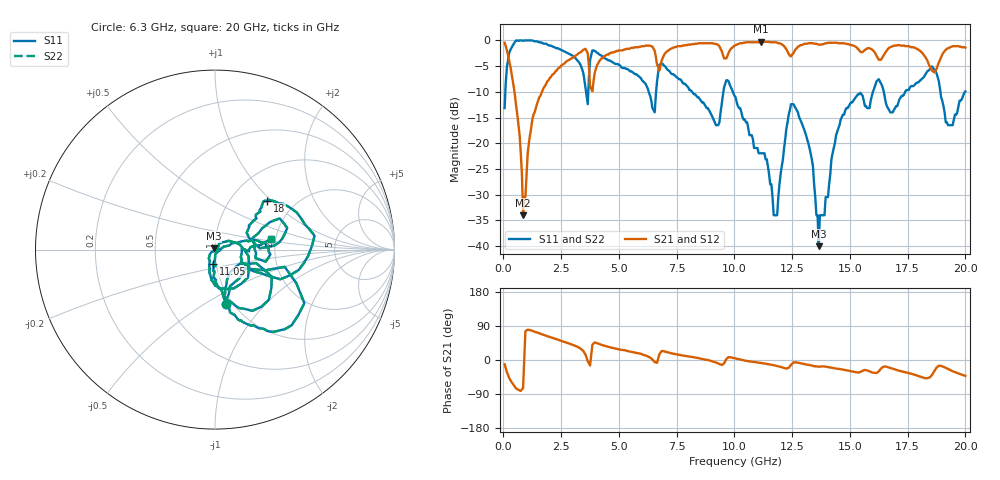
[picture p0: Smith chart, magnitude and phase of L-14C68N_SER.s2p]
# MHZ S MA R 50
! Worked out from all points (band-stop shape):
!   400 points, 50 MHz to 20 GHz, reference 50 ohm
!   highest |S21| = -0.26 dB at 11.15 GHz (marker M1); lowest = -34.0 dB at 850 MHz (marker M2)
!   |S21| within 3 dB of the highest: 6.909 GHz to 9.536 GHz (2.627 GHz wide, 32 % of centre); 9.671 GHz to 16.19 GHz (6.517 GHz wide, 50.4 % of centre) (the widest 2 of 7)
!   lowest |S11| = -40.0 dB at 13.65 GHz (marker M3), VSWR 1.02, Z = 49.3 + j0.719 ohm
!   |S11| at or under -10 dB: 8.169 GHz to 9.523 GHz (1.354 GHz wide, 15.3 % of centre); 9.934 GHz to 15.99 GHz (6.06 GHz wide, 46.7 % of centre); 18.92 GHz to 19.98 GHz (1.063 GHz wide, 5.46 % of centre) (the widest 3 of 7)
!   |S22| runs from -40.0 to 0.0 dB; largest |S21 - S12| = 0
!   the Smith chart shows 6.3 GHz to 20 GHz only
!   S11 on the Smith chart (normalised r, x): 6.3 GHz: 0.93, -0.62; 11.05 GHz: 0.97, -0.15; 18 GHz: 1.46, +0.95; 20 GHz: 1.90, +0.24
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50  0.22 71.0  0.95 -11.3  0.95 -11.3  0.22 71.0
700  1 11.0  0.12 -80.2  0.12 -80.2  1 11.0
850  0.99 5.0  0.02 -73.9  0.02 -73.9  0.99 5.0
1550  0.96 -15.2  0.28 70.3  0.28 70.3  0.96 -15.2
3400  0.53 -60.6  0.79 26.8  0.79 26.8  0.53 -60.6
3650  0.24 -13.5  0.75 -3.1  0.75 -3.1  0.24 -13.5
3850  0.8 -25.2  0.32 40.5  0.32 40.5  0.8 -25.2
6300  0.31 -78.5  0.89 7.9  0.89 7.9  0.31 -78.5
6700  0.49 -22.4  0.55 3.8  0.55 3.8  0.49 -22.4
10050  0.28 -79.5  0.9 3.8  0.9 3.8  0.28 -79.5
11050  0.08 -97.9  0.96 -6.8  0.96 -6.8  0.08 -97.9
11150  0.08 -92.5  0.97 -7.8  0.97 -7.8  0.08 -92.5
11700  0.02 -71.9  0.96 -13.7  0.96 -13.7  0.02 -71.9
12450  0.24 -39.9  0.7 -13.0  0.7 -13.0  0.24 -39.9
13350  0.07 -114.1  0.94 -14.8  0.94 -14.8  0.07 -114.1
13650  0.01 133.2  0.91 -17.7  0.91 -17.7  0.01 133.2
14800  0.21 13.8  0.93 -26.6  0.93 -26.6  0.21 13.8
16700  0.21 14.8  0.85 -19.9  0.85 -19.9  0.21 14.8
18000  0.4 43.1  0.8 -42.9  0.8 -42.9  0.4 43.1
18850  0.4 -24.4  0.61 -15.1  0.61 -15.1  0.4 -24.4
19250  0.15 -16.6  0.84 -23.9  0.84 -23.9  0.15 -16.6
20000  0.32 10.4  0.85 -42.0  0.85 -42.0  0.32 10.4
